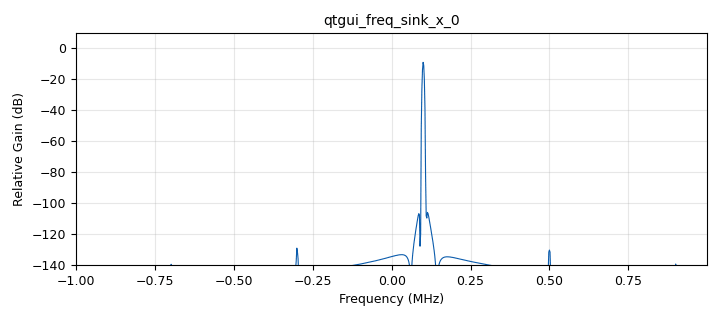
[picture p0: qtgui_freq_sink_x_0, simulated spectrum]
options:
  parameters:
    author: Indrani
    generate_options: qt_gui
    id: step02_single_tone
    output_language: python
    title: Not titled yet
  states: {}

blocks:
- name: samp_rate
  id: variable
  parameters:
    value: 2e6
  states: {}
- name: analog_sig_source_x_0
  id: analog_sig_source_x
  parameters:
    amp: '1'
    freq: 100e3
    offset: '0'
    phase: '0'
    samp_rate: samp_rate
    type: complex
    waveform: analog.GR_COS_WAVE
  states: {}
- name: qtgui_freq_sink_x_0
  id: qtgui_freq_sink_x
  parameters:
    bw: samp_rate
    fc: '0'
    fftsize: '1024'
    type: complex
  states: {}

connections:
- [analog_sig_source_x_0, '0', qtgui_freq_sink_x_0, '0']

metadata:
  file_format: 1
  grc_version: 3.10.12.0
